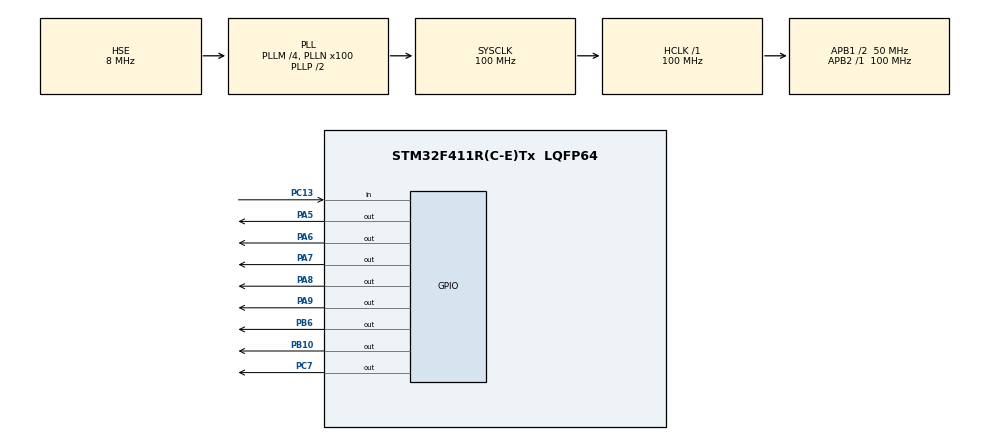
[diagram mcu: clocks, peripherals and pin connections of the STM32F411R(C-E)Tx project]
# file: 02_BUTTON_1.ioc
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Mcu.Family=STM32F4
Mcu.Name=STM32F411R(C-E)Tx
Mcu.Package=LQFP64
NVIC.PriorityGroup=NVIC_PRIORITYGROUP_4
PA13.Mode=Serial_Wire
PA13.Signal=SYS_JTMS-SWDIO
PA14.Mode=Serial_Wire
PA14.Signal=SYS_JTCK-SWCLK
PA5.Signal=GPIO_Output
PA6.Signal=GPIO_Output
PA7.Signal=GPIO_Output
PA8.Signal=GPIO_Output
PA9.Signal=GPIO_Output
PB10.Signal=GPIO_Output
PB6.Signal=GPIO_Output
PC13-ANTI_TAMP.GPIO_PuPd=GPIO_PULLUP
PC13-ANTI_TAMP.Signal=GPIO_Input
PC7.Signal=GPIO_Output
PH0\ -\ OSC_IN.Mode=HSE-External-Oscillator
PH0\ -\ OSC_IN.Signal=RCC_OSC_IN
PH1\ -\ OSC_OUT.Mode=HSE-External-Oscillator
PH1\ -\ OSC_OUT.Signal=RCC_OSC_OUT
ProjectManager.HeapSize=0x200
ProjectManager.StackSize=0x400
ProjectManager.TargetToolchain=STM32CubeIDE
RCC.48MHZClocksFreq_Value=50000000
RCC.AHBFreq_Value=100000000
RCC.APB1CLKDivider=RCC_HCLK_DIV2
RCC.APB1Freq_Value=50000000
RCC.APB1TimFreq_Value=100000000
RCC.APB2Freq_Value=100000000
RCC.APB2TimFreq_Value=100000000
RCC.CortexFreq_Value=100000000
RCC.HCLKFreq_Value=100000000
RCC.HSE_VALUE=8000000
RCC.HSI_VALUE=16000000
RCC.LSE_VALUE=32768
RCC.PLLM=4
RCC.PLLN=100
RCC.PLLSourceVirtual=RCC_PLLSOURCE_HSE
RCC.SYSCLKFreq_VALUE=100000000
RCC.SYSCLKSource=RCC_SYSCLKSOURCE_PLLCLK
RCC.VCOOutputFreq_Value=200000000
board=custom

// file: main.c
/* USER CODE BEGIN Header */
/**
  ******************************************************************************
  * @file           : main.c
  * @brief          : Main program body
  ******************************************************************************
  * @attention
  *
  * Copyright (c) 2025 STMicroelectronics.
  * All rights reserved.
  *
  * This software is licensed under terms that can be found in the LICENSE file
  * in the root directory of this software component.
  * If no LICENSE file comes with this software, it is provided AS-IS.
  *
  ******************************************************************************
  */
/* USER CODE END Header */
#include "main.h"
#include "gpio.h"

/* USER CODE BEGIN Includes */
#include "led.h"
/* USER CODE END Includes */

/* USER CODE BEGIN PV */

uint8_t data;  //전역변수

/* USER CODE END PV */

void SystemClock_Config(void);
/* USER CODE BEGIN PFP */

uint32_t millis()
{
	return HAL_GetTick();
}

#define DEBOUNCE_DELAY		50

/* USER CODE END PFP */

int main(void)
{

  /* MCU Configuration--------------------------------------------------------*/

  /* Reset of all peripherals, Initializes the Flash interface and the Systick. */
  HAL_Init();

  /* Configure the system clock */
  SystemClock_Config();

  /* Initialize all configured peripherals */
  MX_GPIO_Init();
  /* USER CODE BEGIN 2 */

  uint32_t lastDebounceTime = 0;	// 마지막 디반운스 확인 시간
  GPIO_PinState lastButtonstate = GPIO_PIN_SET;  // 마지막 버튼 상태 (풀업이다)

  /* USER CODE END 2 */

  /* Infinite loop */
  /* USER CODE BEGIN WHILE */
  while (1)
  {

	  GPIO_PinState currentButtonState = HAL_GPIO_ReadPin(GPIOC, GPIO_PIN_13);

	  //상태가 변하였는가?
	  if(currentButtonState != lastButtonstate)
	  {

		  // 디바운스 시간까지 잠깐 대기
		  if(millis() - lastDebounceTime > DEBOUNCE_DELAY)
		  {
			  if(currentButtonState == GPIO_PIN_RESET)
			  {
				  // 버튼이 눌렸을때 실행 할 코드 입력
				  HAL_GPIO_WritePin(GPIOA, GPIO_PIN_5 , 1);
			  }
			  else
			  {
				  // 버튼이 눌리지 않았을때 실행 코드
				  HAL_GPIO_WritePin(GPIOA, GPIO_PIN_5 , 0);

			  }
			  lastDebounceTime = millis();		// 초기화
		  }

	  }
	  lastButtonstate = currentButtonState;

	  //	  data = HAL_GPIO_ReadPin(GPIOC, GPIO_PIN_13);

	  /*
	  if(data)		//0이 되는 코드
	  {
		  HAL_GPIO_WritePin(GPIOA, GPIO_PIN_5, 0);

	  }
	  else
	  {
		  HAL_GPIO_WritePin(GPIOA, GPIO_PIN_5, 1);

	  }
*/

    /* USER CODE END WHILE */

  }
}

void SystemClock_Config(void)
{
  RCC_OscInitTypeDef RCC_OscInitStruct = {0};
  RCC_ClkInitTypeDef RCC_ClkInitStruct = {0};

  /** Configure the main internal regulator output voltage
  */
  __HAL_RCC_PWR_CLK_ENABLE();
  __HAL_PWR_VOLTAGESCALING_CONFIG(PWR_REGULATOR_VOLTAGE_SCALE1);

  /** Initializes the RCC Oscillators according to the specified parameters
  * in the RCC_OscInitTypeDef structure.
  */
  RCC_OscInitStruct.OscillatorType = RCC_OSCILLATORTYPE_HSE;
  RCC_OscInitStruct.HSEState = RCC_HSE_ON;
  RCC_OscInitStruct.PLL.PLLState = RCC_PLL_ON;
  RCC_OscInitStruct.PLL.PLLSource = RCC_PLLSOURCE_HSE;
  RCC_OscInitStruct.PLL.PLLM = 4;
  RCC_OscInitStruct.PLL.PLLN = 100;
  RCC_OscInitStruct.PLL.PLLP = RCC_PLLP_DIV2;
  RCC_OscInitStruct.PLL.PLLQ = 4;
  if (HAL_RCC_OscConfig(&RCC_OscInitStruct) != HAL_OK)
  {
    Error_Handler();
  }

  /** Initializes the CPU, AHB and APB buses clocks
  */
  RCC_ClkInitStruct.ClockType = RCC_CLOCKTYPE_HCLK|RCC_CLOCKTYPE_SYSCLK
                              |RCC_CLOCKTYPE_PCLK1|RCC_CLOCKTYPE_PCLK2;
  RCC_ClkInitStruct.SYSCLKSource = RCC_SYSCLKSOURCE_PLLCLK;
  RCC_ClkInitStruct.AHBCLKDivider = RCC_SYSCLK_DIV1;
  RCC_ClkInitStruct.APB1CLKDivider = RCC_HCLK_DIV2;
  RCC_ClkInitStruct.APB2CLKDivider = RCC_HCLK_DIV1;

  if (HAL_RCC_ClockConfig(&RCC_ClkInitStruct, FLASH_LATENCY_3) != HAL_OK)
  {
    Error_Handler();
  }
}

void Error_Handler(void)
{
  __disable_irq();
  while (1)
  {
  }
}
